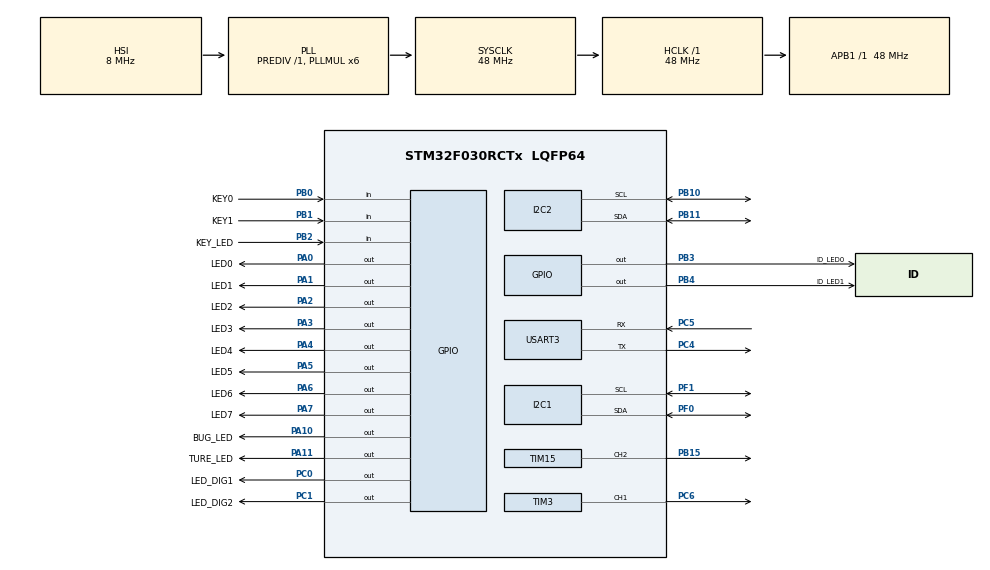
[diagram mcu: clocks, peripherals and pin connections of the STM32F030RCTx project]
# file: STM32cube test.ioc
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I2C2.Timing=0x20303E5D
Mcu.Family=STM32F0
Mcu.Name=STM32F030RCTx
Mcu.Package=LQFP64
PA0.GPIO_Label=LED0
PA0.PinState=GPIO_PIN_SET
PA0.Signal=GPIO_Output
PA1.GPIO_Label=LED1
PA1.PinState=GPIO_PIN_SET
PA1.Signal=GPIO_Output
PA10.GPIO_Label=BUG_LED
PA10.Signal=GPIO_Output
PA11.GPIO_Label=TURE_LED
PA11.Signal=GPIO_Output
PA13.Mode=Serial_Wire
PA13.Signal=SYS_SWDIO
PA14.Mode=Serial_Wire
PA14.Signal=SYS_SWCLK
PA2.GPIO_Label=LED2
PA2.PinState=GPIO_PIN_SET
PA2.Signal=GPIO_Output
PA3.GPIO_Label=LED3
PA3.PinState=GPIO_PIN_SET
PA3.Signal=GPIO_Output
PA4.GPIO_Label=LED4
PA4.PinState=GPIO_PIN_SET
PA4.Signal=GPIO_Output
PA5.GPIO_Label=LED5
PA5.PinState=GPIO_PIN_SET
PA5.Signal=GPIO_Output
PA6.GPIO_Label=LED6
PA6.PinState=GPIO_PIN_SET
PA6.Signal=GPIO_Output
PA7.GPIO_Label=LED7
PA7.PinState=GPIO_PIN_SET
PA7.Signal=GPIO_Output
PB0.GPIO_Label=KEY0
PB0.Signal=GPIO_Input
PB1.GPIO_Label=KEY1
PB1.Signal=GPIO_Input
PB10.Mode=I2C
PB10.Signal=I2C2_SCL
PB11.Mode=I2C
PB11.Signal=I2C2_SDA
PB15.Signal=S_TIM15_CH2
PB2.GPIO_Label=KEY_LED
PB2.Signal=GPIO_Input
PB3.GPIO_Label=ID_LED0
PB3.Signal=GPIO_Output
PB4.GPIO_Label=ID_LED1
PB4.Signal=GPIO_Output
PC0.GPIO_Label=LED_DIG1
PC0.Signal=GPIO_Output
PC1.GPIO_Label=LED_DIG2
PC1.Signal=GPIO_Output
PC4.Mode=Asynchronous
PC4.Signal=USART3_TX
PC5.Mode=Asynchronous
PC5.Signal=USART3_RX
PC6.Signal=S_TIM3_CH1
PF0-OSC_IN.Mode=I2C
PF0-OSC_IN.Signal=I2C1_SDA
PF1-OSC_OUT.Mode=I2C
PF1-OSC_OUT.Signal=I2C1_SCL
ProjectManager.HeapSize=0x200
ProjectManager.StackSize=0x400
ProjectManager.TargetToolchain=STM32CubeIDE
RCC.AHBFreq_Value=48000000
RCC.APB1Freq_Value=48000000
RCC.APB1TimFreq_Value=48000000
RCC.HCLKFreq_Value=48000000
RCC.PLLMUL=RCC_PLL_MUL6
RCC.SYSCLKFreq_VALUE=48000000
RCC.SYSCLKSource=RCC_SYSCLKSOURCE_PLLCLK
SH.S_TIM15_CH2.0=TIM15_CH2,PWM Generation2 CH2
SH.S_TIM3_CH1.0=TIM3_CH1,PWM Generation1 CH1
TIM15.Channel-PWM\ Generation2\ CH2=TIM_CHANNEL_2
TIM3.Channel-PWM\ Generation1\ CH1=TIM_CHANNEL_1
TIM6.Prescaler=48-1
TIM7.Period=999
TIM7.Prescaler=239
USART3.VirtualMode-Asynchronous=VM_ASYNC
VP_TIM6_VS_ClockSourceINT.Mode=Enable_Timer
VP_TIM7_VS_ClockSourceINT.Mode=Enable_Timer
board=custom

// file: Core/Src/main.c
/* USER CODE BEGIN Header */
/**
 ******************************************************************************
 * @file           : main.c
 * @brief          : Main program body
 ******************************************************************************
 * @attention
 *
 * Copyright (c) 2024 STMicroelectronics.
 * All rights reserved.
 *
 * This software is licensed under terms that can be found in the LICENSE file
 * in the root directory of this software component.
 * If no LICENSE file comes with this software, it is provided AS-IS.
 *
 ******************************************************************************
 */
/* USER CODE END Header */
#include "main.h"
#include "i2c.h"
#include "tim.h"
#include "usart.h"
#include "gpio.h"

/* USER CODE BEGIN Includes */
#include "stdio.h"
#include <string.h>
#include "stm32f0xx_hal.h"
#include "delay.h"
//#include "oled.h"
#include "M601.h"
#include "key.h"
#include "flash.h"
#include "M6011.h"
#include "PID.h"
/* USER CODE END Includes */

void SystemClock_Config(void);

/* USER CODE BEGIN 0 */
#define BUTTON_HOLD_THRESHOLD 10000

#define PTC_PWM_CHANNEL TIM_CHANNEL_1

PID_TypeDef pidController;
uint32_t target_temperature = TEMP_DEFAULT; // 默认目标温度

uint32_t segment_data[] = {
		0x3F, // 0
		0x06, // 1
		0x5B, // 2
		0x4F, // 3
		0x66, // 4
		0x6D, // 5
		0x7D, // 6
		0x07, // 7
		0x7F, // 8
		0x6F  // 9
		};
uint32_t current_digit = 0;

/* USER CODE END 0 */

int main(void) {

	/* MCU Configuration--------------------------------------------------------*/

	/* Reset of all peripherals, Initializes the Flash interface and the Systick. */
	HAL_Init();

	/* Configure the system clock */
	SystemClock_Config();

	/* Initialize all configured peripherals */
	MX_GPIO_Init();
	MX_I2C1_Init();
	MX_I2C2_Init();
	MX_TIM3_Init();
	MX_TIM6_Init();
	MX_TIM7_Init();
	MX_TIM15_Init();
	MX_USART3_UART_Init();
	/* USER CODE BEGIN 2 */
	uint32_t currentTemperature = Flash_Read_Temperature();

	target_temperature = currentTemperature;
	uint8_t buttonState = 0;
	uint32_t buttonPressTime = 0;

	uint8_t buttonState1 = 0;
	uint32_t buttonPressTime1 = 0;
	/* USER CODE END 2 */

	/* Infinite loop */
	while (1) {

		/* USER CODE BEGIN 3 */
		if (KEY1 == GPIO_PIN_RESET) {

					if (buttonState == 0) {
						buttonState = 1;
						buttonPressTime = HAL_GetTick();
					} else {

						if (HAL_GetTick() - buttonPressTime > BUTTON_HOLD_THRESHOLD) {

							Error_Handler();
						}
					}
				} else {
					if (buttonState == 1) {
						HAL_Delay(200);
						/* 按键被按下，增加目标温度 */
						target_temperature += 1;
						//
						if (target_temperature > 60) {
							target_temperature = 0;
						}
						Flash_Write_Temperature(target_temperature);
						buttonState = 0;
						HAL_Delay(100);
					}
				}

				if (KEY0 == GPIO_PIN_RESET) {
					if (buttonState1 == 0) {
						buttonState1 = 1;
						buttonPressTime1 = HAL_GetTick();
					} else {

						if (HAL_GetTick() - buttonPressTime1 > BUTTON_HOLD_THRESHOLD) {

							Error_Handler();
						}
					}
				} else {
					if (buttonState1 == 1) {
						HAL_Delay(200);

						target_temperature -= 1;

						if (target_temperature < 0) {
							target_temperature = 100;
						}
						Flash_Write_Temperature(target_temperature);
						buttonState1 = 0;
						HAL_Delay(100);
					}
				}

				pidController.setpoint = (float)target_temperature;

				float tempreture = GetTemp();

				float temperture_ch1 = GetTempone();

				float avgTemp = (tempreture + temperture_ch1) / 2.0f;

				// Compute PID output
				float pidOutput = PID_Compute(&pidController, avgTemp);

				// Control PTC heater
				__HAL_TIM_SET_COMPARE(&htim3, PTC_PWM_CHANNEL, pidOutput);

				HAL_Delay(100); // Delay for 100ms

//				char str[10];
//				char str1[10];
//				char str2[10];
//
//				sprintf(str, "%.2f", tempreture);
//				sprintf(str1, "%d", target_temperature);
//				sprintf(str2, "%.2f", temperture_ch1);
//
//				OLED_ShowString(42, 0, str, 16);
//				OLED_ShowString(42, 3, str1, 16);
//				OLED_ShowString(42, 5, str2, 16);

				char buffer[100];
				snprintf(buffer, sizeof(buffer),"Temp1: %.2f, Temp2: %.2f, Avg: %.2f, PID Output: %.2f\r\n",tempreture, temperture_ch1, avgTemp, pidOutput);
				HAL_UART_Transmit(&huart3, (uint8_t*) buffer, strlen(buffer),
						HAL_MAX_DELAY);
				HAL_Delay(300);

	}
	/* USER CODE END 3 */
}

void SystemClock_Config(void) {
	RCC_OscInitTypeDef RCC_OscInitStruct = { 0 };
	RCC_ClkInitTypeDef RCC_ClkInitStruct = { 0 };
	RCC_PeriphCLKInitTypeDef PeriphClkInit = { 0 };

	/** Initializes the RCC Oscillators according to the specified parameters
	 * in the RCC_OscInitTypeDef structure.
	 */
	RCC_OscInitStruct.OscillatorType = RCC_OSCILLATORTYPE_HSI;
	RCC_OscInitStruct.HSIState = RCC_HSI_ON;
	RCC_OscInitStruct.HSICalibrationValue = RCC_HSICALIBRATION_DEFAULT;
	RCC_OscInitStruct.PLL.PLLState = RCC_PLL_ON;
	RCC_OscInitStruct.PLL.PLLSource = RCC_PLLSOURCE_HSI;
	RCC_OscInitStruct.PLL.PLLMUL = RCC_PLL_MUL6;
	RCC_OscInitStruct.PLL.PREDIV = RCC_PREDIV_DIV1;
	if (HAL_RCC_OscConfig(&RCC_OscInitStruct) != HAL_OK) {
		Error_Handler();
	}

	/** Initializes the CPU, AHB and APB buses clocks
	 */
	RCC_ClkInitStruct.ClockType = RCC_CLOCKTYPE_HCLK | RCC_CLOCKTYPE_SYSCLK
			| RCC_CLOCKTYPE_PCLK1;
	RCC_ClkInitStruct.SYSCLKSource = RCC_SYSCLKSOURCE_PLLCLK;
	RCC_ClkInitStruct.AHBCLKDivider = RCC_SYSCLK_DIV1;
	RCC_ClkInitStruct.APB1CLKDivider = RCC_HCLK_DIV1;

	if (HAL_RCC_ClockConfig(&RCC_ClkInitStruct, FLASH_LATENCY_1) != HAL_OK) {
		Error_Handler();
	}
	PeriphClkInit.PeriphClockSelection = RCC_PERIPHCLK_I2C1;
	PeriphClkInit.I2c1ClockSelection = RCC_I2C1CLKSOURCE_HSI;
	if (HAL_RCCEx_PeriphCLKConfig(&PeriphClkInit) != HAL_OK) {
		Error_Handler();
	}
}

/* USER CODE BEGIN 4 */
void HAL_TIM_PeriodElapsedCallback(TIM_HandleTypeDef *htim) {

	if (htim->Instance == TIM7) {

		uint32_t tens = target_temperature / 10;
		uint32_t units = target_temperature % 10;

		if (current_digit == 0) {
			HAL_GPIO_WritePin(GPIOB, LED_DIG1_Pin, GPIO_PIN_SET); // 打开1
			HAL_GPIO_WritePin(GPIOB, LED_DIG2_Pin, GPIO_PIN_RESET); // 关闭2
			HAL_GPIO_WritePin(GPIOA, 0xFF, GPIO_PIN_SET); // 清除
			HAL_GPIO_WritePin(GPIOA, segment_data[tens], GPIO_PIN_RESET); // 显示十位数字
			current_digit = 1;
		} else {
			HAL_GPIO_WritePin(GPIOB, LED_DIG1_Pin, GPIO_PIN_RESET);
			HAL_GPIO_WritePin(GPIOB, LED_DIG2_Pin, GPIO_PIN_SET);
			HAL_GPIO_WritePin(GPIOA, 0xFF, GPIO_PIN_SET); // 清除
			HAL_GPIO_WritePin(GPIOA, segment_data[units], GPIO_PIN_RESET); // 显示个位数字
			current_digit = 0;
		}
	}

}

/* USER CODE END 4 */

void Error_Handler(void) {
	/* USER CODE BEGIN Error_Handler_Debug */
	/* User can add his own implementation to report the HAL error return state */
	__disable_irq();
	while (1) {
		HAL_GPIO_WritePin(GPIOA, BUG_LED_Pin, GPIO_PIN_SET);
		HAL_Delay(200);
		HAL_GPIO_WritePin(GPIOA, BUG_LED_Pin, GPIO_PIN_RESET);
		HAL_Delay(200);
	}
	/* USER CODE END Error_Handler_Debug */
}
